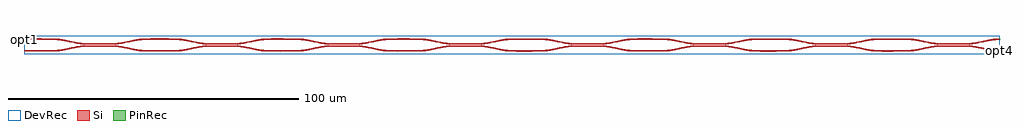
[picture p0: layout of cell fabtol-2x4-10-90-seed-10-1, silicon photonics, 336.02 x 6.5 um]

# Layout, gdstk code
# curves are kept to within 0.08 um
import gdstk
lib = gdstk.Library(unit=1e-6, precision=1e-09)
def R(c, l, rs):  # rectangles x0, y0, x1, y1
    for r in rs: c.add(gdstk.rectangle(r[:2], r[2:], *l))
def P(c, l, *ps):  # polygons
    for p in ps: c.add(gdstk.Polygon(p, *l))
Si = (1, 0)
PinRec = (1, 10)
DevRec = (68, 0)

layer_3_0_phase_sec_3_41 = lib.new_cell('layer-3_0_phase_sec_3$41')
P(layer_3_0_phase_sec_3_41, Si, [(1.332,-0.245),(0,-0.225),(0,0.225),(10,0.225),(10,-0.225)])

layer_3_0_phase_sec_1_41 = lib.new_cell('layer-3_0_phase_sec_1$41')
P(layer_3_0_phase_sec_1_41, Si, [(1.383,-0.251),(0,-0.225),(0,0.225),(10,0.225),(10,-0.225)])

layer_3_0_phase_sec_0_41 = lib.new_cell('layer-3_0_phase_sec_0$41')
P(layer_3_0_phase_sec_0_41, Si, [(7.345,-0.229),(0,-0.225),(0,0.225),(10,0.225),(10,-0.225)])

layer_0_0_phase_sec_0_41 = lib.new_cell('layer-0_0_phase_sec_0$41')
P(layer_0_0_phase_sec_0_41, Si, [(3.571,-0.239),(0,-0.225),(0,0.225),(10,0.225),(10,-0.225)])

layer_1_0_phase_sec_0_41 = lib.new_cell('layer-1_0_phase_sec_0$41')
P(layer_1_0_phase_sec_0_41, Si, [(5.29,-0.239),(0,-0.225),(0,0.225),(10,0.225),(10,-0.225)])

layer_3_0_phase_sec_2_41 = lib.new_cell('layer-3_0_phase_sec_2$41')
P(layer_3_0_phase_sec_2_41, Si, [(4.389,-0.234),(0,-0.225),(0,0.225),(10,0.225),(10,-0.225)])

dc_arm_down_41 = lib.new_cell('dc_arm_down$41')
R(dc_arm_down_41, Si, [(12,-0.55,20,-0.1)])
P(dc_arm_down_41, Si, [(32,-2.225),(30.861,-2.188),(29.344,-2.033),(22.966,-0.793),(21.481,-0.613),(20,-0.55),(20,-0.1),(21.139,-0.137),(22.656,-0.292),(29.034,-1.532),(30.519,-1.712),(32,-1.775)],
  [(0,-2.225),(0,-1.775),(1.481,-1.712),(2.966,-1.532),(9.344,-0.292),(10.861,-0.137),(12,-0.1),(12,-0.55),(10.519,-0.613),(9.034,-0.793),(2.656,-2.033),(1.139,-2.188)])

dc_arm_up_41 = lib.new_cell('dc_arm_up$41')
R(dc_arm_up_41, Si, [(12,0.1,20,0.55)])
P(dc_arm_up_41, Si, [(20,0.1),(20,0.55),(21.481,0.613),(22.966,0.793),(29.344,2.033),(30.861,2.188),(32,2.225),(32,1.775),(30.519,1.712),(29.034,1.532),(22.656,0.292),(21.139,0.137)],
  [(12,0.1),(10.861,0.137),(9.344,0.292),(2.966,1.532),(1.481,1.712),(0,1.775),(0,2.225),(1.139,2.188),(2.656,2.033),(9.034,0.793),(10.519,0.613),(12,0.55)])

dc_41 = lib.new_cell('dc$41')
dc_41.add(gdstk.Reference(dc_arm_down_41, (0,0)))
dc_41.add(gdstk.Reference(dc_arm_up_41, (0,0)))

layer_1_0_phase_sec_1_41 = lib.new_cell('layer-1_0_phase_sec_1$41')
P(layer_1_0_phase_sec_1_41, Si, [(4.171,-0.242),(0,-0.225),(0,0.225),(10,0.225),(10,-0.225)])

layer_1_0_phase_sec_2_41 = lib.new_cell('layer-1_0_phase_sec_2$41')
P(layer_1_0_phase_sec_2_41, Si, [(3.979,-0.236),(0,-0.225),(0,0.225),(10,0.225),(10,-0.225)])

layer_1_0_phase_sec_3_41 = lib.new_cell('layer-1_0_phase_sec_3$41')
P(layer_1_0_phase_sec_3_41, Si, [(2.641,-0.242),(0,-0.225),(0,0.225),(10,0.225),(10,-0.225)])

layer_0_0_phase_sec_3_41 = lib.new_cell('layer-0_0_phase_sec_3$41')
P(layer_0_0_phase_sec_3_41, Si, [(5.522,-0.233),(0,-0.225),(0,0.225),(10,0.225),(10,-0.225)])

layer_2_0_phase_sec_0_41 = lib.new_cell('layer-2_0_phase_sec_0$41')
P(layer_2_0_phase_sec_0_41, Si, [(0,-0.225),(0,0.225),(10,0.225),(10,-0.225)])

layer_0_0_phase_sec_1_41 = lib.new_cell('layer-0_0_phase_sec_1$41')
P(layer_0_0_phase_sec_1_41, Si, [(2.685,-0.227),(0,-0.225),(0,0.225),(10,0.225),(10,-0.225)])

layer_2_0_phase_sec_1_41 = lib.new_cell('layer-2_0_phase_sec_1$41')
P(layer_2_0_phase_sec_1_41, Si, [(1.399,-0.252),(0,-0.225),(0,0.225),(10,0.225),(10,-0.225)])

layer_2_0_phase_sec_2_41 = lib.new_cell('layer-2_0_phase_sec_2$41')
P(layer_2_0_phase_sec_2_41, Si, [(1.272,-0.24),(0,-0.225),(0,0.225),(10,0.225),(10,-0.225)])

layer_0_0_phase_sec_2_41 = lib.new_cell('layer-0_0_phase_sec_2$41')
P(layer_0_0_phase_sec_2_41, Si, [(7.829,-0.245),(0,-0.225),(0,0.225),(10,0.225),(10,-0.225)])

layer_2_0_phase_sec_3_41 = lib.new_cell('layer-2_0_phase_sec_3$41')
P(layer_2_0_phase_sec_3_41, Si, [(3.225,-0.239),(0,-0.225),(0,0.225),(10,0.225),(10,-0.225)])

fabtol_2x4_10_90_seed_10 = lib.new_cell('fabtol-2x4-10-90-seed-10-1')
R(fabtol_2x4_10_90_seed_10, DevRec, [(0,-1,336,5.497)])
fabtol_2x4_10_90_seed_10.add(gdstk.FlexPath([(335.99,0.252),(336.01,0.252)], 0.45, ends="flush", simple_path=True, layer=1, datatype=10))  # PinRec
fabtol_2x4_10_90_seed_10.add(gdstk.FlexPath([(335.99,4.252),(336.01,4.252)], 0.45, ends="flush", simple_path=True, layer=1, datatype=10))  # PinRec
fabtol_2x4_10_90_seed_10.add(gdstk.FlexPath([(0.01,4.252),(-0.01,4.252)], 0.45, ends="flush", simple_path=True, layer=1, datatype=10))  # PinRec
fabtol_2x4_10_90_seed_10.add(gdstk.Reference(layer_3_0_phase_sec_3_41, (294,0.252)))
fabtol_2x4_10_90_seed_10.add(gdstk.Reference(layer_3_0_phase_sec_1_41, (252,0.252)))
fabtol_2x4_10_90_seed_10.add(gdstk.Reference(layer_3_0_phase_sec_0_41, (252,4.252)))
fabtol_2x4_10_90_seed_10.add(gdstk.Reference(layer_0_0_phase_sec_0_41, (0,4.252)))
fabtol_2x4_10_90_seed_10.add(gdstk.Reference(layer_1_0_phase_sec_0_41, (84,4.252)))
fabtol_2x4_10_90_seed_10.add(gdstk.Reference(layer_3_0_phase_sec_2_41, (294,4.252)))
fabtol_2x4_10_90_seed_10.add(gdstk.Reference(dc_41, (10,2.252)))
fabtol_2x4_10_90_seed_10.add(gdstk.Reference(dc_41, (52,2.252)))
fabtol_2x4_10_90_seed_10.add(gdstk.Reference(dc_41, (94,2.252)))
fabtol_2x4_10_90_seed_10.add(gdstk.Reference(dc_41, (136,2.252)))
fabtol_2x4_10_90_seed_10.add(gdstk.Reference(dc_41, (178,2.252)))
fabtol_2x4_10_90_seed_10.add(gdstk.Reference(dc_41, (220,2.252)))
fabtol_2x4_10_90_seed_10.add(gdstk.Reference(dc_41, (262,2.252)))
fabtol_2x4_10_90_seed_10.add(gdstk.Reference(dc_41, (304,2.252)))
fabtol_2x4_10_90_seed_10.add(gdstk.Reference(layer_1_0_phase_sec_1_41, (84,0.252)))
fabtol_2x4_10_90_seed_10.add(gdstk.Reference(layer_1_0_phase_sec_2_41, (126,4.252)))
fabtol_2x4_10_90_seed_10.add(gdstk.Reference(layer_1_0_phase_sec_3_41, (126,0.252)))
fabtol_2x4_10_90_seed_10.add(gdstk.Reference(layer_0_0_phase_sec_3_41, (42,0.252)))
fabtol_2x4_10_90_seed_10.add(gdstk.Reference(layer_2_0_phase_sec_0_41, (168,4.252)))
fabtol_2x4_10_90_seed_10.add(gdstk.Reference(layer_0_0_phase_sec_1_41, (0,0.252)))
fabtol_2x4_10_90_seed_10.add(gdstk.Reference(layer_2_0_phase_sec_1_41, (168,0.252)))
fabtol_2x4_10_90_seed_10.add(gdstk.Reference(layer_2_0_phase_sec_2_41, (210,4.252)))
fabtol_2x4_10_90_seed_10.add(gdstk.Reference(layer_0_0_phase_sec_2_41, (42,4.252)))
fabtol_2x4_10_90_seed_10.add(gdstk.Reference(layer_2_0_phase_sec_3_41, (210,0.252)))
fabtol_2x4_10_90_seed_10.add(gdstk.Label('opt4', (336,0.252), layer=1, texttype=10))
fabtol_2x4_10_90_seed_10.add(gdstk.Label('opt3', (336,4.252), layer=1, texttype=10))
fabtol_2x4_10_90_seed_10.add(gdstk.Label('opt1', (0,4.252), layer=1, texttype=10))

lib.write_gds('fabtol-2x4-10-90-seed-10-1.gds')
